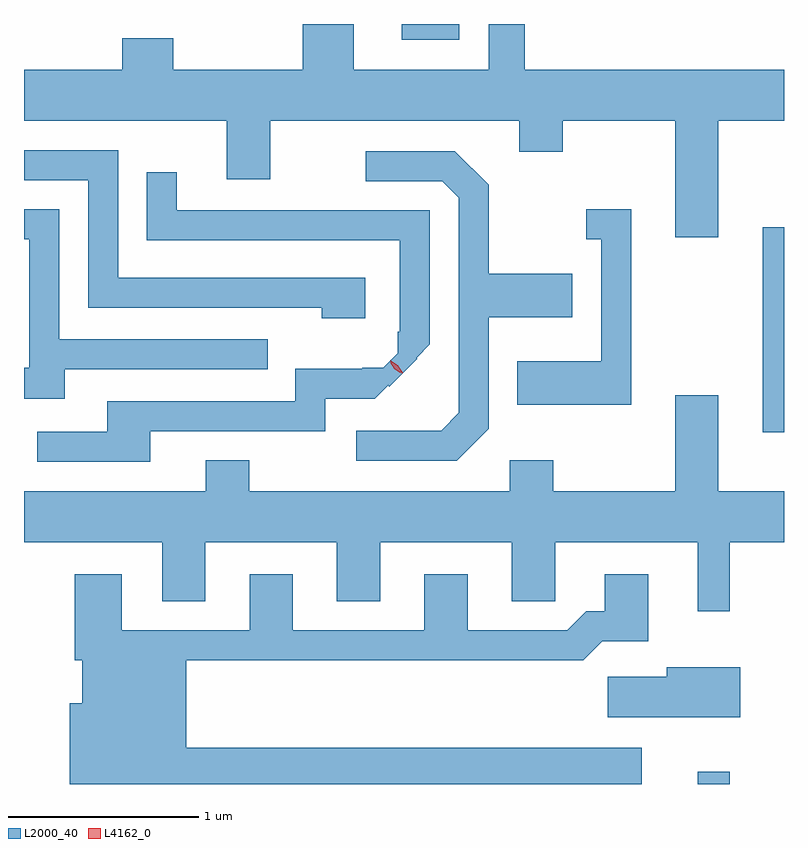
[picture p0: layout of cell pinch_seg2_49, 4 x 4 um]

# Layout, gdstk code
import gdstk
lib = gdstk.Library(unit=1e-6, precision=1e-09)
def R(c, l, rs):  # rectangles x0, y0, x1, y1
    for r in rs: c.add(gdstk.rectangle(r[:2], r[2:], *l))
def P(c, l, *ps):  # polygons
    for p in ps: c.add(gdstk.Polygon(p, *l))
L2000_40 = (2000, 40)
L4162_0 = (4162, 0)

pinch_seg2_49 = lib.new_cell('pinch_seg2_49')
R(pinch_seg2_49, L2000_40, [(1223.521,1062.584,1223.689,1062.648), (1223.861,1064.436,1223.974,1065.514), (1221.961,1066.501,1222.264,1066.584)])
P(pinch_seg2_49, L2000_40, [(1223.629,1066.076),(1223.974,1066.076),(1223.974,1066.344),(1222.609,1066.344),(1222.609,1066.584),(1222.421,1066.584),(1222.421,1066.344),(1221.709,1066.344),(1221.709,1066.584),(1221.441,1066.584),(1221.441,1066.344),(1220.759,1066.344),(1220.759,1066.509),(1220.491,1066.509),(1220.491,1066.344),(1219.974,1066.344),(1219.974,1066.076),(1221.041,1066.076),(1221.041,1065.766),(1221.269,1065.766),(1221.269,1066.076),(1222.581,1066.076),(1222.581,1065.911),(1222.809,1065.911),(1222.809,1066.076),(1223.401,1066.076),(1223.401,1065.461),(1223.629,1065.461)],
  [(1221.769,1065.249),(1220.469,1065.249),(1220.469,1065.919),(1219.974,1065.919),(1219.974,1065.761),(1220.311,1065.761),(1220.311,1065.091),(1221.541,1065.091),(1221.541,1065.036),(1221.769,1065.036)],
  [(1222.419,1064.454),(1222.419,1065.041),(1222.859,1065.041),(1222.859,1065.269),(1222.419,1065.269),(1222.419,1065.737),(1222.242,1065.914),(1221.773,1065.914),(1221.773,1065.756),(1222.174,1065.756),(1222.261,1065.669),(1222.261,1064.537),(1222.169,1064.444),(1221.723,1064.444),(1221.723,1064.286),(1222.252,1064.286)],
  [(1220.639,1064.441),(1221.559,1064.441),(1221.559,1064.611),(1221.821,1064.611),(1221.891,1064.682),(1221.897,1064.675),(1222.045,1064.823),(1222.04,1064.828),(1222.109,1064.898),(1222.109,1065.604),(1220.779,1065.604),(1220.779,1065.803),(1220.621,1065.803),(1220.621,1065.446),(1221.951,1065.446),(1221.951,1064.965),(1221.94,1064.965),(1221.94,1064.85),(1221.864,1064.774),(1221.755,1064.774),(1221.755,1064.769),(1221.401,1064.769),(1221.401,1064.599),(1220.411,1064.599),(1220.411,1064.439),(1220.043,1064.439),(1220.043,1064.281),(1220.639,1064.281)],
  [(1220.189,1064.766),(1221.258,1064.766),(1221.258,1064.924),(1220.159,1064.924),(1220.159,1065.609),(1219.974,1065.609),(1219.974,1065.451),(1220.001,1065.451),(1220.001,1064.774),(1219.974,1064.774),(1219.974,1064.611),(1220.189,1064.611)],
  [(1223.169,1065.609),(1222.933,1065.609),(1222.933,1065.451),(1223.011,1065.451),(1223.011,1064.809),(1222.571,1064.809),(1222.571,1064.581),(1223.169,1064.581)],
  [(1223.689,1063.856),(1223.974,1063.856),(1223.974,1064.124),(1223.629,1064.124),(1223.629,1064.629),(1223.401,1064.629),(1223.401,1064.124),(1222.759,1064.124),(1222.759,1064.289),(1222.531,1064.289),(1222.531,1064.124),(1221.159,1064.124),(1221.159,1064.289),(1220.931,1064.289),(1220.931,1064.124),(1219.974,1064.124),(1219.974,1063.856),(1220.701,1063.856),(1220.701,1063.546),(1220.929,1063.546),(1220.929,1063.856),(1221.621,1063.856),(1221.621,1063.546),(1221.849,1063.546),(1221.849,1063.856),(1222.541,1063.856),(1222.541,1063.546),(1222.769,1063.546),(1222.769,1063.856),(1223.521,1063.856),(1223.521,1063.493),(1223.689,1063.493)],
  [(1223.224,1062.774),(1220.829,1062.774),(1220.829,1063.236),(1222.917,1063.236),(1223.017,1063.336),(1223.259,1063.336),(1223.259,1063.689),(1223.031,1063.689),(1223.031,1063.494),(1222.934,1063.494),(1222.834,1063.394),(1222.309,1063.394),(1222.309,1063.689),(1222.081,1063.689),(1222.081,1063.394),(1221.389,1063.394),(1221.389,1063.689),(1221.161,1063.689),(1221.161,1063.394),(1220.489,1063.394),(1220.489,1063.689),(1220.241,1063.689),(1220.241,1063.236),(1220.281,1063.236),(1220.281,1063.009),(1220.216,1063.009),(1220.216,1062.584),(1223.224,1062.584)],
  [(1223.744,1063.199),(1223.356,1063.199),(1223.356,1063.149),(1223.046,1063.149),(1223.046,1062.936),(1223.744,1062.936)])
P(pinch_seg2_49, L4162_0, [(1221.966,1064.747),(1221.927,1064.773),(1221.901,1064.812),(1221.901,1064.813),(1221.902,1064.813),(1221.941,1064.787),(1221.967,1064.748),(1221.967,1064.747)],
  [(1221.957,1064.747),(1221.923,1064.769),(1221.902,1064.804),(1221.902,1064.805),(1221.902,1064.805),(1221.937,1064.783),(1221.958,1064.747),(1221.958,1064.747)])

lib.write_gds('pinch_seg2_49.gds')
